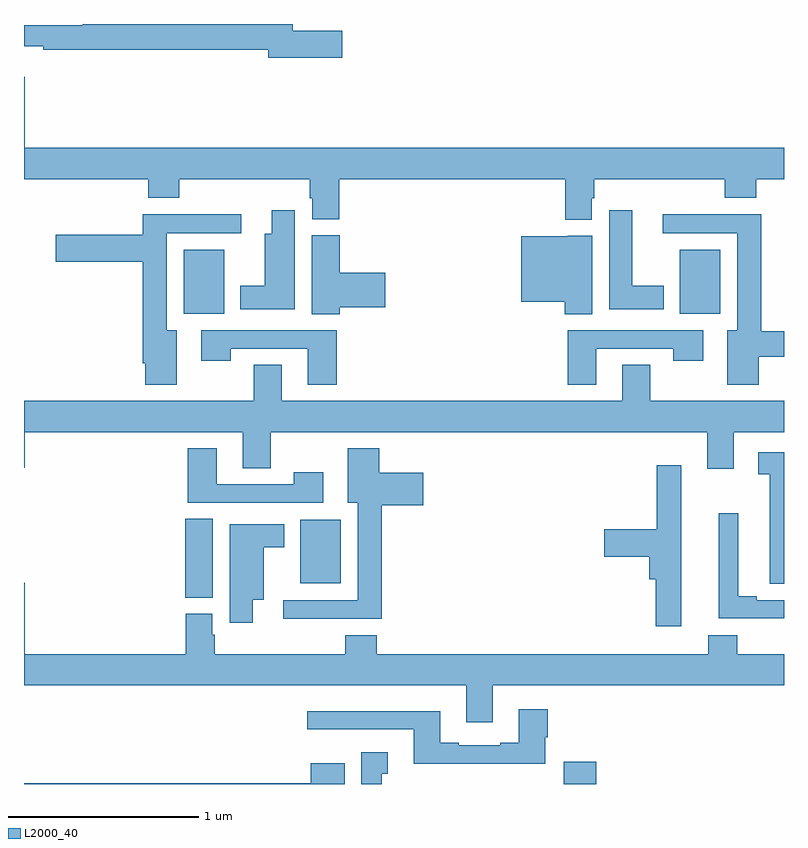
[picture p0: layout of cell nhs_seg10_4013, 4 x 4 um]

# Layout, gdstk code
import gdstk
lib = gdstk.Library(unit=1e-6, precision=1e-09)
def R(c, l, rs):  # rectangles x0, y0, x1, y1
    for r in rs: c.add(gdstk.rectangle(r[:2], r[2:], *l))
def P(c, l, *ps):  # polygons
    for p in ps: c.add(gdstk.Polygon(p, *l))
L2000_40 = (2000, 40)

nhs_seg10_4013 = lib.new_cell('nhs_seg10_4013')
R(nhs_seg10_4013, L2000_40, [(335.84,1262.5,336.011,1262.617), (333.848,1263.481,333.994,1263.896), (334.454,1263.557,334.666,1263.892), (333.842,1264.976,334.054,1265.311), (336.452,1264.976,336.664,1265.311)])
P(nhs_seg10_4013, L2000_40, [(334.675,1266.464),(334.414,1266.464),(334.414,1266.5),(333.31,1266.5),(333.31,1266.493),(333,1266.493),(333,1266.383),(333.1,1266.383),(333.1,1266.364),(334.286,1266.364),(334.286,1266.322),(334.675,1266.322)],
  [(335.989,1265.583),(336.002,1265.583),(336.002,1265.684),(336.689,1265.684),(336.689,1265.585),(336.854,1265.585),(336.854,1265.684),(337,1265.684),(337,1265.848),(333.004,1265.848),(333.004,1266.223),(333,1266.223),(333,1265.684),(333.653,1265.684),(333.653,1265.585),(333.818,1265.585),(333.818,1265.684),(334.505,1265.684),(334.505,1265.583),(334.517,1265.583),(334.517,1265.473),(334.658,1265.473),(334.658,1265.684),(335.849,1265.684),(335.849,1265.471),(335.989,1265.471)],
  [(334.426,1265.521),(334.304,1265.521),(334.304,1265.395),(334.268,1265.395),(334.268,1265.122),(334.139,1265.122),(334.139,1265),(334.426,1265)],
  [(336.367,1265.122),(336.202,1265.122),(336.202,1265.521),(336.08,1265.521),(336.08,1265),(336.367,1265)],
  [(333.805,1264.888),(333.751,1264.888),(333.751,1265.4),(334.144,1265.4),(334.144,1265.498),(333.626,1265.498),(333.626,1265.391),(333.168,1265.391),(333.168,1265.249),(333.626,1265.249),(333.626,1264.714),(333.638,1264.714),(333.638,1264.602),(333.805,1264.602)],
  [(336.868,1264.748),(337,1264.748),(337,1264.883),(336.881,1264.883),(336.881,1265.498),(336.363,1265.498),(336.363,1265.4),(336.755,1265.4),(336.755,1264.888),(336.701,1264.888),(336.701,1264.602),(336.868,1264.602)],
  [(334.661,1265.009),(334.9,1265.009),(334.9,1265.192),(334.661,1265.192),(334.661,1265.388),(334.514,1265.388),(334.514,1264.972),(334.661,1264.972)],
  [(335.992,1265.386),(335.862,1265.386),(335.862,1265.383),(335.618,1265.383),(335.618,1265.039),(335.846,1265.039),(335.846,1264.972),(335.992,1264.972)],
  [(336.013,1264.791),(336.418,1264.791),(336.418,1264.728),(336.574,1264.728),(336.574,1264.887),(335.861,1264.887),(335.861,1264.602),(336.013,1264.602)],
  [(334.646,1264.887),(333.933,1264.887),(333.933,1264.728),(334.089,1264.728),(334.089,1264.791),(334.493,1264.791),(334.493,1264.602),(334.646,1264.602)],
  [(336.736,1264.352),(337,1264.352),(337,1264.516),(336.297,1264.516),(336.297,1264.706),(336.149,1264.706),(336.149,1264.516),(334.357,1264.516),(334.357,1264.706),(334.21,1264.706),(334.21,1264.516),(333,1264.516),(333,1264.164),(333.004,1264.164),(333.004,1264.352),(334.151,1264.352),(334.151,1264.162),(334.299,1264.162),(334.299,1264.352),(336.596,1264.352),(336.596,1264.158),(336.736,1264.158)],
  [(334.883,1263.968),(335.101,1263.968),(335.101,1264.138),(334.87,1264.138),(334.87,1264.267),(334.703,1264.267),(334.703,1263.98),(334.757,1263.98),(334.757,1263.468),(334.365,1263.468),(334.365,1263.371),(334.883,1263.371)],
  [(334.576,1264.141),(334.42,1264.141),(334.42,1264.077),(334.015,1264.077),(334.015,1264.267),(333.863,1264.267),(333.863,1263.981),(334.576,1263.981)],
  [(337,1264.245),(336.864,1264.245),(336.864,1264.129),(336.926,1264.129),(336.926,1263.553),(337,1263.553)],
  [(336.46,1264.177),(336.329,1264.177),(336.329,1263.842),(336.054,1263.842),(336.054,1263.695),(336.29,1263.695),(336.29,1263.578),(336.326,1263.578),(336.326,1263.33),(336.46,1263.33)],
  [(337,1263.468),(336.856,1263.468),(336.856,1263.488),(336.76,1263.488),(336.76,1263.925),(336.656,1263.925),(336.656,1263.372),(337,1263.372)],
  [(334.204,1263.47),(334.261,1263.47),(334.261,1263.746),(334.369,1263.746),(334.369,1263.868),(334.082,1263.868),(334.082,1263.348),(334.204,1263.348)],
  [(335.467,1263.02),(337,1263.02),(337,1263.184),(336.754,1263.184),(336.754,1263.283),(336.602,1263.283),(336.602,1263.184),(334.856,1263.184),(334.856,1263.283),(334.691,1263.283),(334.691,1263.184),(334.004,1263.184),(334.004,1263.285),(333.991,1263.285),(333.991,1263.396),(333.851,1263.396),(333.851,1263.184),(333.004,1263.184),(333.004,1263.559),(333,1263.559),(333,1263.02),(335.327,1263.02),(335.327,1262.826),(335.467,1262.826)],
  [(335.743,1262.745),(335.756,1262.745),(335.756,1262.893),(335.603,1262.893),(335.603,1262.716),(335.507,1262.716),(335.507,1262.703),(335.287,1262.703),(335.287,1262.716),(335.191,1262.716),(335.191,1262.884),(334.491,1262.884),(334.491,1262.787),(335.051,1262.787),(335.051,1262.606),(335.743,1262.606)],
  [(334.882,1262.555),(334.915,1262.555),(334.915,1262.668),(334.775,1262.668),(334.775,1262.5),(334.882,1262.5)],
  [(334.687,1262.608),(334.508,1262.608),(334.508,1262.504),(333,1262.504),(333,1262.5),(334.687,1262.5)])

lib.write_gds('nhs_seg10_4013.gds')
